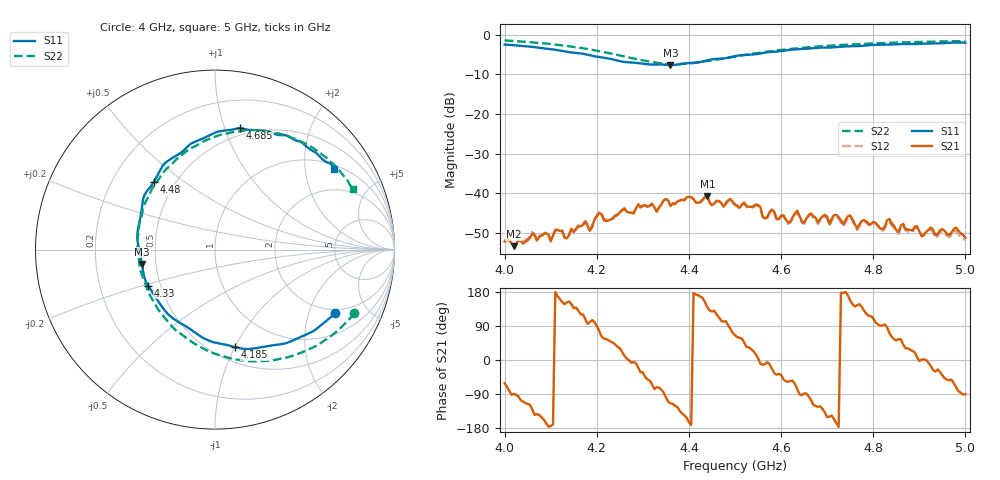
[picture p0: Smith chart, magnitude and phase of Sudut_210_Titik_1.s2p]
# Hz S RI R 50
! CMT, C1220, 16058040, 17.2.0/1
! Date: 15/08/2018 11:34:38
! Data: Format (Calibration Info)
! Freq  S11: Re/Im (F2)  S21: Re/Im (F2)  S12: Re/Im (F2)  S22: Re/Im (F2)
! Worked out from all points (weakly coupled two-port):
!   201 points, 4 GHz to 5 GHz, reference 50 ohm
!   highest |S21| = -40.80 dB at 4.44 GHz (marker M1); lowest = -53.4 dB at 4.02 GHz (marker M2)
!   lowest |S11| = -7.7 dB at 4.36 GHz (marker M3), VSWR 2.41, Z = 20.9 - j4.04 ohm
!   |S11| at or under -10 dB: nowhere
!   |S22| runs from -7.4 to -1.4 dB; largest |S21 - S12| = 0.00038
!   S11 on the Smith chart (normalised r, x): 4 GHz: 1.81, -3.00; 4.185 GHz: 0.64, -1.00; 4.33 GHz: 0.43, -0.21; 4.48 GHz: 0.38, +0.39; 4.685 GHz: 0.44, +1.13; 5 GHz: 1.15, +2.84
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4e9  0.6676 -0.355  0.00118 -0.00213  0.00136 -0.00214  0.7752 -0.3535
4.02e9  0.6323 -0.3871  2.56e-05 -0.00213  7.31e-05 -0.00218  0.7384 -0.3972
4.17e9  0.1657 -0.554  -0.00198 0.00342  -0.00209 0.00345  0.2736 -0.6204
4.185e9  0.1122 -0.5434  -0.000578 0.00329  -0.000614 0.00342  0.2092 -0.6226
4.205e9  0.0303 -0.5247  0.00119 0.00546  0.00115 0.00561  0.1204 -0.6126
4.33e9  -0.3732 -0.2002  0.00182 -0.00552  0.00181 -0.00564  -0.3536 -0.27
4.335e9  -0.3832 -0.1824  0.00194 -0.00623  0.00183 -0.00636  -0.3662 -0.2466
4.36e9  -0.4064 -0.0801  -0.00282 -0.00626  -0.00289 -0.00631  -0.4124 -0.127
4.44e9  -0.4047 0.252  -0.00688 0.006  -0.00669 0.00604  -0.389 0.2616
4.48e9  -0.3421 0.3763  -0.00159 0.00726  -0.00139 0.0072  -0.3013 0.4112
4.5e9  -0.3031 0.4465  0.00297 0.00652  0.00298 0.00638  -0.2455 0.4721
4.615e9  -0.0189 0.6422  0.0023 -0.00358  0.00209 -0.00352  0.0952 0.6534
4.635e9  0.022 0.6586  0.00136 -0.00582  0.00124 -0.0056  0.1526 0.6612
4.65e9  0.0594 0.6643  0.000118 -0.00422  0.00012 -0.00408  0.1952 0.6627
4.67e9  0.1111 0.6714  -0.00239 -0.00453  -0.00238 -0.00426  0.2473 0.6625
4.685e9  0.1401 0.677  -0.00251 -0.00398  -0.00245 -0.00379  0.2835 0.6595
4.75e9  0.2861 0.6605  -0.00478 0.00206  -0.0047 0.00189  0.4323 0.6212
4.82e9  0.4169 0.6255  -6.38e-05 0.00348  2.05e-05 0.00332  0.5593 0.5568
4.835e9  0.4447 0.6109  0.00153 0.00445  0.00135 0.00414  0.5824 0.5403
4.855e9  0.4766 0.6003  0.00184 0.00266  0.00169 0.00253  0.6122 0.5177
4.98e9  0.6467 0.4751  0.0011 -0.00347  0.001 -0.00314  0.7496 0.364
5e9  0.6615 0.4474  -9.21e-06 -0.00273  8.31e-05 -0.00256  0.7679 0.3373
